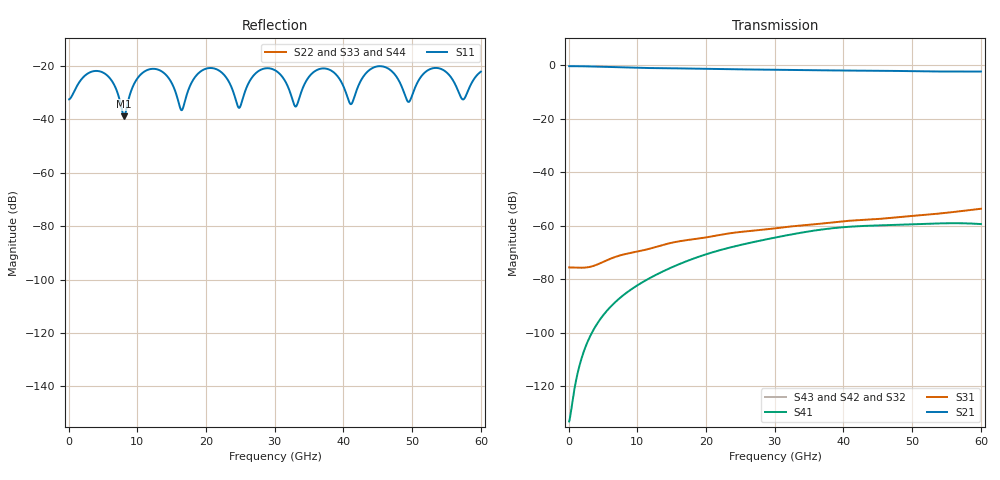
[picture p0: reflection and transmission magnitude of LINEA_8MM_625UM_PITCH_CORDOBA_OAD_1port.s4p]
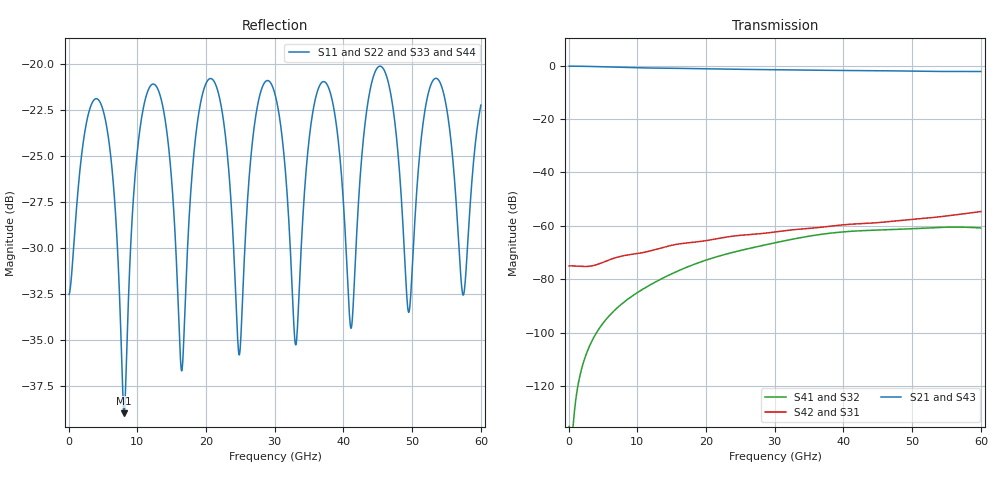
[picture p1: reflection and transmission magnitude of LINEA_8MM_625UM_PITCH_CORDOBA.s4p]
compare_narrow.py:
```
"""Widened CORDOBA run (substrate 625 um beyond the outer grounds) against the narrow one (21 um):
1) S-parameter column 1 (only port 1 was driven in the widened run): S11, S21, NEXT = S31, FEXT = S41.
2) Gap fields point by point: |wide - narrow| / |narrow| on A and B (CPW and slot patterns).
3) EO crosstalk B/A from the fields (50 ohm source and load, push-pull, n_g 2.27)."""
import os, sys
sys.path.insert(0, os.path.abspath(os.path.join(os.path.dirname(__file__), "../../../..")))
import numpy as np, skrf
from mzm_interconnect import parameters as P, xtalk_fields as XF
HERE = os.path.dirname(os.path.abspath(__file__)); NAR = os.path.join(HERE, "../cordoba_8mm")
d = lambda x: 20 * np.log10(np.abs(x) + 1e-30)
nw = skrf.Network(os.path.join(HERE, "LINEA_8MM_625UM_PITCH_CORDOBA_OAD_1port.s4p"))
nn = skrf.Network(os.path.join(NAR, "LINEA_8MM_625UM_PITCH_CORDOBA.s4p"))
assert np.allclose(nw.f, nn.f)
f = nw.f; w = 2 * np.pi * f
print("columns 2-4 of the widened s4p, max |S|:", f"{np.abs(nw.s[:, :, 1:]).max():.1e}", "(not computed: only port 1 driven)")
gd = lambda x: -np.gradient(np.unwrap(np.angle(x)), w)
print("\n f GHz |  S11 n/w      |  S21 n/w        |  NEXT n/w       |  FEXT n/w       | |S41w-S41n|/|S41n|")
for g in (1, 2, 5, 10, 15, 20, 25, 30, 35, 40, 45, 50, 55, 60):
    i = np.argmin(abs(f - g * 1e9)); a, b = nn.s[i], nw.s[i]
    print(f" {g:5d} | {d(a[0,0]):6.1f} {d(b[0,0]):6.1f} | {d(a[1,0]):7.3f} {d(b[1,0]):7.3f} | {d(a[2,0]):6.1f} {d(b[2,0]):6.1f} | "
          f"{d(a[3,0]):6.1f} {d(b[3,0]):6.1f} | {abs(b[3,0]-a[3,0])/abs(a[3,0]):.3f}")
sel = (f >= 5e9) & (f <= 50e9)
for k, n in (("narrow", nn), ("wide", nw)):
    t = [np.median(gd(n.s[:, a, 0])[sel]) * 1e12 for a in (1, 2, 3)]
    print(f"{k:6s}: delay S21 {t[0]:.2f} ps (n_g {t[0]*1e-12*2.99792458e8/8e-3:.4f}), NEXT {t[1]/t[0]:.2f}x, FEXT {t[2]/t[0]:.2f}x")
fn, fw = XF.load_field_dir(NAR), XF.load_field_dir(HERE)
z = fn["z"]; assert np.allclose(z, fw["z"])
inn = (z >= 0.31e-3) & (z <= 7.69e-3)
print("\nGap fields, interior z 0.31-7.69 mm: rms|wide - narrow| / rms|narrow|")
print(" f GHz | A CPW   A slot | B CPW   B slot")
for g in fn["f_GHz"]:
    row = f" {g:5.0f} |"
    for L in "AB":
        pn, mn = fn["ports"][g][1][L]; pw, mw = fw["ports"][g][1][L]
        for pat in (lambda p, m: p - m, lambda p, m: p + m):   # CPW: V+ + V- = Ey+ - Ey-; slot: Ey+ + Ey-
            a, b = pat(pn, mn)[inn], pat(pw, mw)[inn]
            row += f" {np.linalg.norm(b - a) / np.linalg.norm(a):6.3f}"
        row += " |"
    print(row)
p = P.defaults(); p["Rt_R"] = 50.0; p["Zs_R"] = 50.0
rn, rw = XF.eo_crosstalk_fields(p, fn), XF.eo_crosstalk_fields(p, fw)
print("\nEO crosstalk B/A from the fields (dB), 50/50 ohm, push-pull, n_g", p["ng"])
print(" f GHz | narrow | wide  | wide - narrow")
for i, g in enumerate(rn["f_GHz"]):
    print(f" {g:5.0f} | {d(rn['X'][i]):6.1f} | {d(rw['X'][i]):5.1f} | {d(rw['X'][i]) - d(rn['X'][i]):+5.1f}")
```
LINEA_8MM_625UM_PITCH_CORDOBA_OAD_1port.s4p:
! TOUCHSTONE file generated by CST MICROWAVE STUDIO
! Date and time: Fri Oct 30 14:48:36 2026
! Project name: LINEA_8MM_625UM_PITCH_CORDOBA_OAD_1port.cst
! Parameters = {CHANNEL_PITCH=0.625; GAP=0.00415; L=8; L1=0.02; L2=0.086; L3=0.066; NCELL=1; PITCH=0.18; START_POSITION=0.13; W1=0.003; W2=0.004; W3=0.009; WG=0.04985; gap_oxr=0.00125; linbo3_thickness=0.0002; mtx=0.002; oxiDinE=0.0014; w=0.185; ws=0.035}
! Header version: 2024
! Port assignment regex: !\s*Touchstone port\s*([0-9]+)\s*=\s*(CST MWS port|CST DES external port|CST DES block port)\s*(.+)\s* \(\"(.*)\"\)(\s*mode\s*([0-9]+))?.*
! Touchstone port assignment:
! Touchstone port 1 = CST MWS port 1 ("")
! Touchstone port 2 = CST MWS port 2 ("")
! Touchstone port 3 = CST MWS port 3 ("")
! Touchstone port 4 = CST MWS port 4 ("")
# GHz S MA R 50
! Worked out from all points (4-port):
!   1000 points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, 60 MHz to 60 GHz, reference 50 ohm
!   strongest paths, dB at 60 MHz, 15.06 GHz, 30.06 GHz, 45.06 GHz, 60 GHz:
!     S21: -0.3, -1.1, -1.6, -2.0, -2.3
!     S31: -75.6, -66.3, -61.0, -57.5, -53.6
!     S41: -133.3, -75.5, -64.4, -59.9, -59.4
!     S43: -, -, -, -, -
!     S42: -, -, -, -, -
!     S32: -, -, -, -, -
!   lowest |S11| = -38.8 dB at 8.04 GHz (marker M1), VSWR 1.02, Z = 48.9 - j0.286 ohm
!   |S11| at or under -10 dB: start of sweep to end of sweep
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0.06  0.02382 -5.6  0 0.0  0 0.0  0 0.0
      0.9712 -1.3  0 0.0  0 0.0  0 0.0
      0.0001656 -3.0  0 0.0  0 0.0  0 0.0
      2.166e-07 4.9  0 0.0  0 0.0  0 0.0
8.04  0.01142 -165.1  0 0.0  0 0.0  0 0.0
      0.9186 -176.2  0 0.0  0 0.0  0 0.0
      0.0002905 -42.8  0 0.0  0 0.0  0 0.0
      5.101e-05 175.2  0 0.0  0 0.0  0 0.0
60  0.07844 -126.6  0 0.0  0 0.0  0 0.0
    0.7706 151.7  0 0.0  0 0.0  0 0.0
    0.002079 148.5  0 0.0  0 0.0  0 0.0
    0.001074 47.8  0 0.0  0 0.0  0 0.0
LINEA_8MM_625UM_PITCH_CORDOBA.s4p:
! TOUCHSTONE file generated by CST MICROWAVE STUDIO
! Date and time: Wed Oct 28 09:14:27 2026
! Project name: LINEA_8MM_625UM_PITCH_CORDOBA.cst
! Parameters = {CHANNEL_PITCH=0.625; GAP=0.00415; L=8; L1=0.02; L2=0.086; L3=0.066; NCELL=1; PITCH=0.18; START_POSITION=0.13; W1=0.003; W2=0.004; W3=0.009; WG=0.04985; gap_oxr=0.00125; linbo3_thickness=0.0002; mtx=0.002; oxiDinE=0.0014; w=0.185; ws=0.035}
! Header version: 2024
! Port assignment regex: !\s*Touchstone port\s*([0-9]+)\s*=\s*(CST MWS port|CST DES external port|CST DES block port)\s*(.+)\s* \(\"(.*)\"\)(\s*mode\s*([0-9]+))?.*
! Touchstone port assignment:
! Touchstone port 1 = CST MWS port 1 ("")
! Touchstone port 2 = CST MWS port 2 ("")
! Touchstone port 3 = CST MWS port 3 ("")
! Touchstone port 4 = CST MWS port 4 ("")
# GHz S MA R 50
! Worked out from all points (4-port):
!   1000 points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, 60 MHz to 60 GHz, reference 50 ohm
!   strongest paths, dB at 60 MHz, 15.06 GHz, 30.06 GHz, 45.06 GHz, 60 GHz:
!     S21: -0.3, -1.0, -1.5, -1.9, -2.2
!     S43: -0.3, -1.0, -1.5, -1.9, -2.2
!     S42: -75.0, -67.3, -62.3, -58.8, -54.7
!     S31: -75.0, -67.3, -62.3, -58.8, -54.7
!     S41: -135.2, -77.9, -66.4, -61.6, -60.8
!     S32: -135.3, -77.9, -66.4, -61.6, -60.8
!   lowest |S11| = -39.0 dB at 8.04 GHz (marker M1), VSWR 1.02, Z = 48.9 - j0.272 ohm
!   |S11| at or under -10 dB: start of sweep to end of sweep
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0.06  0.02363 -5.6  0.9716 -1.3  0.0001772 -2.9  1.729e-07 173.7
      0.9716 -1.3  0.02363 -5.6  1.727e-07 173.7  0.0001773 -2.9
      0.0001772 -2.9  1.719e-07 173.7  0.02363 -5.6  0.9716 -1.3
      1.741e-07 173.7  0.0001773 -2.9  0.9716 -1.3  0.02363 -5.6
8.04  0.01123 -165.7  0.9195 -176.0  0.0002753 -36.9  3.704e-05 178.9
      0.9195 -176.0  0.0112 -165.6  3.703e-05 178.9  0.0002753 -36.9
      0.0002753 -36.9  3.704e-05 178.9  0.01123 -165.7  0.9195 -176.0
      3.703e-05 178.9  0.0002753 -36.9  0.9195 -176.0  0.0112 -165.6
60  0.07722 -125.7  0.7723 153.1  0.001843 144.6  0.0009075 63.1
    0.7723 153.1  0.07724 -125.9  0.0009075 63.1  0.001843 144.7
    0.001843 144.6  0.0009075 63.1  0.07723 -125.7  0.7723 153.1
    0.0009075 63.1  0.001843 144.7  0.7723 153.1  0.07723 -125.9
